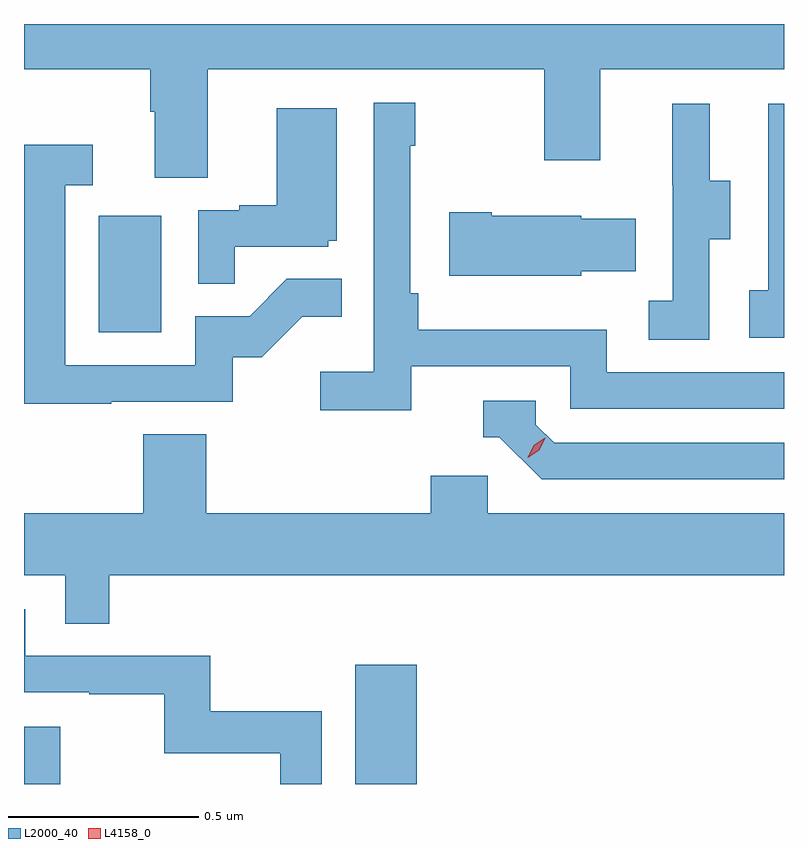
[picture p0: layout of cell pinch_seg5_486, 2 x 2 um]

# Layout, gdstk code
import gdstk
lib = gdstk.Library(unit=1e-6, precision=1e-09)
def R(c, l, rs):  # rectangles x0, y0, x1, y1
    for r in rs: c.add(gdstk.rectangle(r[:2], r[2:], *l))
def P(c, l, *ps):  # polygons
    for p in ps: c.add(gdstk.Polygon(p, *l))
L2000_40 = (2000, 40)
L4158_0 = (4158, 0)

pinch_seg5_486 = lib.new_cell('pinch_seg5_486')
R(pinch_seg5_486, L2000_40, [(934.131,836.231,934.226,836.382), (935.003,836.231,935.164,836.545), (934.328,837.42,934.492,837.727)])
P(pinch_seg5_486, L2000_40, [(934.615,838.112),(935.5,838.112),(935.5,837.873),(935.647,837.873),(935.647,838.112),(936.131,838.112),(936.131,838.231),(934.131,838.231),(934.131,838.112),(934.463,838.112),(934.463,838),(934.475,838),(934.475,837.826),(934.615,837.826)],
  [(935.15,837.33),(935.568,837.33),(935.568,837.219),(936.131,837.219),(936.131,837.315),(935.664,837.315),(935.664,837.427),(935.168,837.427),(935.168,837.523),(935.148,837.523),(935.148,837.911),(935.161,837.911),(935.161,838.024),(935.052,838.024),(935.052,837.316),(934.911,837.316),(934.911,837.214),(935.15,837.214)],
  [(936.131,838.021),(936.09,838.021),(936.09,837.53),(936.039,837.53),(936.039,837.405),(936.131,837.405)],
  [(935.934,837.664),(935.989,837.664),(935.989,837.819),(935.935,837.819),(935.935,838.021),(935.837,838.021),(935.837,837.807),(935.838,837.807),(935.838,837.503),(935.775,837.503),(935.775,837.4),(935.934,837.4)],
  [(934.685,837.645),(934.932,837.645),(934.932,837.66),(934.954,837.66),(934.954,838.009),(934.796,838.009),(934.796,837.754),(934.697,837.754),(934.697,837.741),(934.59,837.741),(934.59,837.547),(934.685,837.547)],
  [(934.361,837.237),(934.68,837.237),(934.68,837.354),(934.756,837.354),(934.863,837.461),(934.967,837.461),(934.967,837.56),(934.823,837.56),(934.725,837.462),(934.581,837.462),(934.581,837.333),(934.239,837.333),(934.239,837.807),(934.312,837.807),(934.312,837.913),(934.131,837.913),(934.131,837.232),(934.361,837.232)],
  [(935.598,837.581),(935.741,837.581),(935.741,837.718),(935.598,837.718),(935.598,837.727),(935.362,837.727),(935.362,837.735),(935.25,837.735),(935.25,837.569),(935.598,837.569)],
  [(936.131,837.129),(935.526,837.129),(935.478,837.177),(935.478,837.24),(935.339,837.24),(935.339,837.144),(935.382,837.144),(935.493,837.033),(936.131,837.033)],
  [(934.355,836.78),(936.131,836.78),(936.131,836.944),(935.352,836.944),(935.352,837.042),(935.201,837.042),(935.201,836.944),(934.61,836.944),(934.61,837.152),(934.445,837.152),(934.445,836.944),(934.131,836.944),(934.131,836.78),(934.239,836.78),(934.239,836.653),(934.355,836.653)],
  [(934.914,836.422),(934.621,836.422),(934.621,836.568),(934.134,836.568),(934.134,836.691),(934.131,836.691),(934.131,836.472),(934.303,836.472),(934.303,836.467),(934.5,836.467),(934.5,836.312),(934.805,836.312),(934.805,836.231),(934.914,836.231)])
P(pinch_seg5_486, L4158_0, [(935.456,837.09),(935.456,837.09),(935.472,837.123),(935.503,837.142),(935.503,837.142),(935.503,837.142),(935.487,837.109),(935.456,837.09)])

lib.write_gds('pinch_seg5_486.gds')
